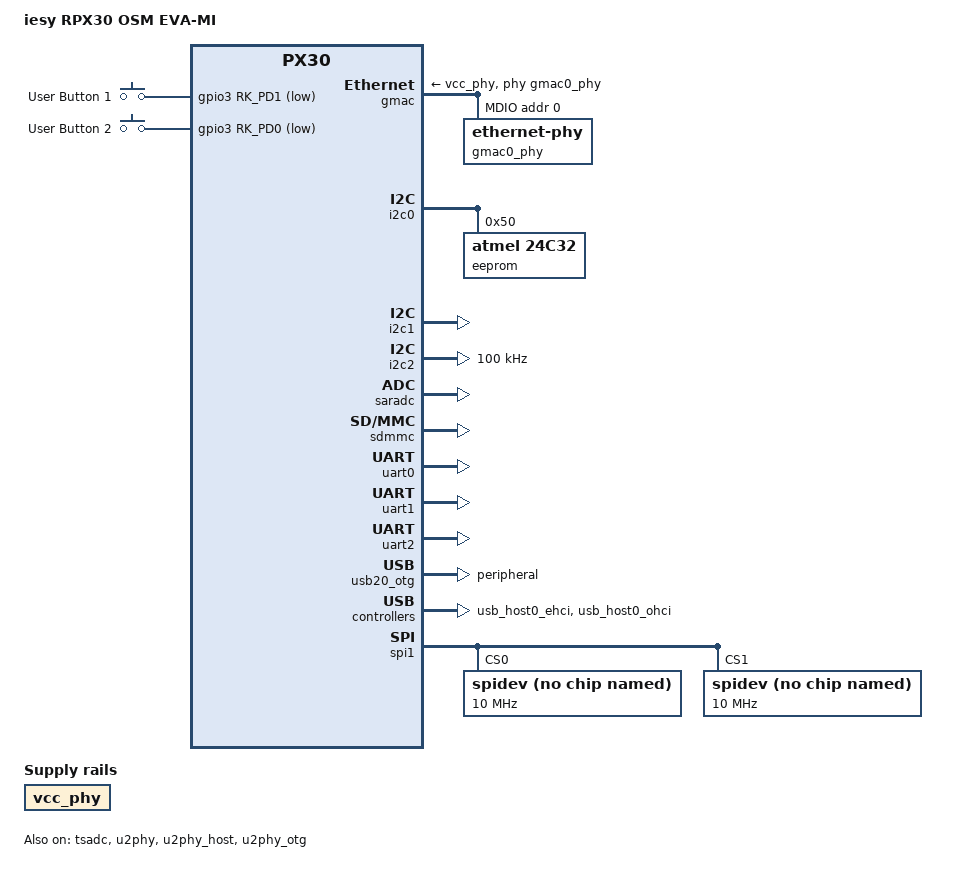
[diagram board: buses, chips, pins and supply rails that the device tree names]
// SPDX-License-Identifier: (GPL-2.0+ OR MIT)
/*
 * Device Tree for iesy RPX30 EVA-MI (Eval Kit)
 *
 * Copyright (c) 2022 iesy GmbH
 */

/dts-v1/;

#include <dt-bindings/gpio/gpio.h>
#include <dt-bindings/pinctrl/rockchip.h>
#include <dt-bindings/input/input.h>
#include <dt-bindings/net/mscc-phy-vsc8531.h>

#include "px30-iesy-osm.dtsi"

/ {
	model = "iesy RPX30 OSM EVA-MI";
	compatible = "iesy,rpx30-osm-eva-mi", "iesy,rpx30-osm", "rockchip,px30";

	aliases {
		mmc0 = &sdmmc;
		mmc1 = &emmc;
		mmc2 = &sdio;
	};

	vcc_phy: vcc-phy-regulator {
		compatible = "regulator-fixed";
		regulator-name = "vcc_phy";
		regulator-always-on;
		regulator-boot-on;
	};

	user-buttons {
		compatible = "gpio-keys";
		pinctrl-names = "default";
		pinctrl-0 = <&pinctrl_buttons>;
		autorepeat;

		user-button-1 {
			label = "User Button 1";
			gpios = <&gpio3 RK_PD1 GPIO_ACTIVE_LOW>;
			linux,code = <KEY_X>;
		};

		user-button-2 {
			label = "User Button 2";
			gpios = <&gpio3 RK_PD0 GPIO_ACTIVE_LOW>;
			linux,code = <KEY_Z>;
		};
	};
};

&gmac {
	phy-supply = <&vcc_phy>;
	phy-handle = <&gmac0_phy>;
	max-speed = <100>;
	clock_in_out = "input";
	status = "okay";

	gmdio0: mdio {
		compatible = "snps,dwmac-mdio";
		#address-cells = <1>;
		#size-cells = <0>;

		gmac0_phy: ethernet-phy@0 {
			//compatible = "ethernet-phy-id0007.0770";
			reg = <0>;
			vsc8531,vddmac = <1800>;
			vsc8531,edge-slowdown = <76>;
			vsc8531,led-0-mode = <VSC8531_LINK_100_ACTIVITY>;
			vsc8531,led-1-mode = <VSC8531_LINK_100_ACTIVITY>;
		};
	};
};

&i2c0 {
	/* EEPROM on CM006 */
	eeprom@50 {
		status = "okay";
		compatible = "atmel,24c32";
		reg = <0x50>;
		pagesize = <32>;
	};
};

&i2c1 {
	status = "okay";
};

&i2c2 {
	status = "okay";

	clock-frequency = <100000>;

	/* These are relatively safe rise/fall times; TODO: measure */
	i2c-scl-falling-time-ns = <50>;
	i2c-scl-rising-time-ns = <300>;
};

/* 2 SAR ADC inputs on BB138 */
&saradc {
	status = "okay";
};

/* SD card connector on BB138 */
&sdmmc {
	vqmmc-supply = <&vccio_sd>;
	/* vmmc-supply = <&vcc_sd>; */
	status = "okay";
};

/* used for reading gpu temperature */
&tsadc {
	pinctrl-names = "gpio", "otpout";
	pinctrl-0 = <&tsadc_otp_gpio>;
	pinctrl-1 = <&tsadc_otp_out>;
	status = "okay";
};

&uart0 {
	status = "okay";
};

&uart1 {
	status = "okay";
};

&uart2 {
	pinctrl-0 = <&uart2m1_xfer>;
	status = "okay";
};

&u2phy {
	status = "okay";
};

&u2phy_host {
	status = "okay";
};

&u2phy_otg {
	status = "okay";
};

&usb20_otg {
	/*vbus-supply = <&usb_a_vbus_regulator>;*/
	dr_mode = "peripheral";
	status = "okay";
};

&usb_host0_ehci {
	/*vbus-supply = <&usb_b_vbus_regulator>;*/
	status = "okay";
};

&usb_host0_ohci {
	/*vbus-supply = <&usb_b_vbus_regulator>;*/
	status = "okay";
};

&spi1 {
	status = "okay";

	spidev@0 {
		compatible = "linux,spidev";
		spi-max-frequency = <10000000>;
		reg = <0>;
	};

	spidev@1 {
		compatible = "linux,spidev";
		spi-max-frequency = <10000000>;
		reg = <1>;
	};
};

/*
 * Inserted to avoid error messages
 * "Looking up ...-supply property in node /power-management@ff000000/power-controller failed"
 * @MAS: Are the specified power domains correct?
 */
&power {
	pd_vi-supply = <&vdd_logic>;
	pd_vpu-supply = <&vdd_logic>;
	pd_gpu-supply = <&vdd_logic>;
	pd_usb-supply = <&vdd_logic>;
};

&pinctrl {
	gpiokeys {
		pinctrl_buttons: buttongrp {
			rockchip,pins =
				<3 RK_PD0 RK_FUNC_GPIO &pcfg_pull_up>,
				<3 RK_PD1 RK_FUNC_GPIO &pcfg_pull_up>;
		};
	};

	tsadc {
		tsadc_otp_gpio: tsadc-otp-gpio {
			rockchip,pins =
				<0 RK_PA6 RK_FUNC_GPIO &pcfg_pull_none>;
		};

		tsadc_otp_out: tsadc-otp-out {
			rockchip,pins =
				<0 RK_PA6 1 &pcfg_pull_none>;
		};
	};
};

/* DON'T PUT ANYTHING BELOW HERE.  PUT IT ABOVE PINCTRL */
